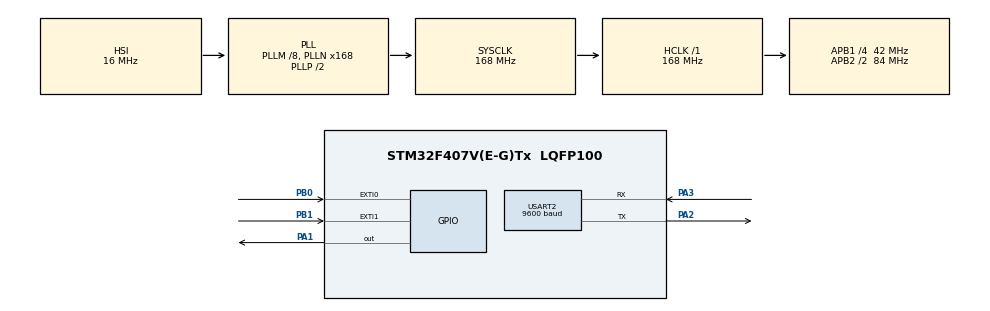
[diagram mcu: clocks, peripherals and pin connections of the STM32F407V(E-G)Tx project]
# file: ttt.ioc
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Mcu.Family=STM32F4
Mcu.Name=STM32F407V(E-G)Tx
Mcu.Package=LQFP100
NVIC.EXTI0_IRQn=true\:0\:0\:false\:false\:true\:true\:true
NVIC.EXTI1_IRQn=true\:0\:0\:false\:false\:true\:true\:true
NVIC.PriorityGroup=NVIC_PRIORITYGROUP_4
NVIC.USART2_IRQn=true\:0\:0\:false\:false\:true\:true\:true
PA1.Signal=GPIO_Output
PA13.Mode=Serial_Wire
PA13.Signal=SYS_JTMS-SWDIO
PA14.Mode=Serial_Wire
PA14.Signal=SYS_JTCK-SWCLK
PA2.Mode=Asynchronous
PA2.Signal=USART2_TX
PA3.Mode=Asynchronous
PA3.Signal=USART2_RX
PB0.Signal=GPXTI0
PB1.Signal=GPXTI1
ProjectManager.HeapSize=0x200
ProjectManager.StackSize=0x400
ProjectManager.TargetToolchain=Makefile
RCC.48MHZClocksFreq_Value=84000000
RCC.AHBFreq_Value=168000000
RCC.APB1CLKDivider=RCC_HCLK_DIV4
RCC.APB1Freq_Value=42000000
RCC.APB1TimFreq_Value=84000000
RCC.APB2CLKDivider=RCC_HCLK_DIV2
RCC.APB2Freq_Value=84000000
RCC.APB2TimFreq_Value=168000000
RCC.CortexFreq_Value=168000000
RCC.HCLKFreq_Value=168000000
RCC.HSE_VALUE=25000000
RCC.HSI_VALUE=16000000
RCC.LSE_VALUE=32768
RCC.PLLM=8
RCC.PLLN=168
RCC.SYSCLKFreq_VALUE=168000000
RCC.SYSCLKSource=RCC_SYSCLKSOURCE_PLLCLK
RCC.VCOOutputFreq_Value=336000000
USART2.BaudRate=9600
USART2.VirtualMode=VM_ASYNC
board=custom

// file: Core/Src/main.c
/* USER CODE BEGIN Header */
/**
  ******************************************************************************
  * @file           : main.c
  * @brief          : Main program body
  ******************************************************************************
  * @attention
  *
  * <h2><center>&copy; Copyright (c) 2021 STMicroelectronics.
  * All rights reserved.</center></h2>
  *
  * This software component is licensed by ST under BSD 3-Clause license,
  * the "License"; You may not use this file except in compliance with the
  * License. You may obtain a copy of the License at:
  *                        opensource.org/licenses/BSD-3-Clause
  *
  ******************************************************************************
  */
/* USER CODE END Header */
#include "main.h"

/* USER CODE BEGIN Includes */
#include "NOS_ModBus.h"
#include "../Src/Detector/Code/Detector.h"
#include "stdint.h"
#include <stdbool.h>
/* USER CODE END Includes */

UART_HandleTypeDef huart2;

/* USER CODE BEGIN PV */
ModBus_Master_Command master;
ModBus_Slave_Command slave;
ModBusState state;
bool AddressOk = false;
uint8_t rx_buff[256];
uint8_t fuck_buff[1024];
uint16_t fuckIndex = 0;
uint8_t lenght = 0;
uint8_t currCommand = 0;
bool rx_flag = false;
bool tx_flag = false;
uint8_t tx_buff[16];
uint8_t counter = 0;
volatile NOS_Short tickcount1;
volatile NOS_Short tickcountBuff;
NOS_Float uSvValue;
uint32_t tickcount2 = 0;
bool time250ms = false;
NOS_Short time;
TStatus_Stat stat;
/* USER CODE END PV */

void SystemClock_Config(void);
static void MX_GPIO_Init(void);
static void MX_USART2_UART_Init(void);

/* USER CODE BEGIN 0 */
void NOS_ModBus_SendSlaveCommand(ModBus_Slave_Command* slave)
{

    HAL_GPIO_WritePin(GPIOA,GPIO_PIN_1,0);
  if(slave->type < 2)
  {
    tx_buff[0] = slave->Addr;
    tx_buff[1] = slave->Command;
    tx_buff[2] = slave->Byte_Count;
    NOS_Short crc;
    if(slave->type == 0)
    {
      tx_buff[3] = slave->ShortValue.bytes[1];
      tx_buff[4] = slave->ShortValue.bytes[0];
      crc.data = GetCRC16(&tx_buff,5);
      tx_buff[5] = crc.bytes[1];
      tx_buff[6] = crc.bytes[0];
      HAL_UART_Transmit_IT(&huart2,&tx_buff,7);
    }
    else
    {
      tx_buff[3] = slave->FloatValue.bytes[3];
      tx_buff[4] = slave->FloatValue.bytes[2];
      tx_buff[5] = slave->FloatValue.bytes[1];
      tx_buff[6] = slave->FloatValue.bytes[0];
      crc.data = GetCRC16(&tx_buff,7);
      tx_buff[8] = crc.bytes[1];
      tx_buff[9] = crc.bytes[0];
      HAL_UART_Transmit_IT(&huart2,&tx_buff,9);
    }
  }
  else
  {
    Stat_GetStatus(&stat);
    NOS_Float dat;
    dat.data = stat.CPS;
    tx_buff[0] = dat.bytes[3];
    tx_buff[1] = dat.bytes[2];
    tx_buff[2] = dat.bytes[1];
    tx_buff[3] = dat.bytes[0];
    tx_buff[4] = stat.Delta;
    tx_buff[5] = uSvValue.bytes[3];
    tx_buff[6] = uSvValue.bytes[2];
    tx_buff[7] = uSvValue.bytes[1];
    tx_buff[8] = uSvValue.bytes[0];
    tx_buff[9] = stat.Status;
    tx_buff[10] = tickcountBuff.bytes[1];
    tx_buff[11] = tickcountBuff.bytes[0];

    HAL_UART_Transmit_IT(&huart2,tx_buff,12);
  }
  HAL_GPIO_WritePin(GPIOA,GPIO_PIN_1,1);
}

void HAL_UART_RxCpltCallback(UART_HandleTypeDef* huart) {

static uint8_t* rx_buff_ptr = rx_buff;

fuck_buff[fuckIndex] = *rx_buff_ptr;
fuckIndex++;
if(fuckIndex > 1023)
{
  fuckIndex = 0;
}

if(*rx_buff_ptr == 101 && !AddressOk)
{
  AddressOk = true;
  lenght = 0;
}

if(AddressOk && lenght == 1)
{
  currCommand = *rx_buff_ptr;
}

if(lenght > 10)
{
  rx_buff_ptr = rx_buff;
  lenght = 0;
  AddressOk = false;
  for(int i = 0; i < 10; i++)
  {
    rx_buff[i] = 0;
  }
}

if(AddressOk && lenght == 7 && currCommand == 0x03)
{
  rx_buff_ptr = rx_buff;
  AddressOk = false;
  lenght = 0;
  rx_flag = true;
}
else
{
  rx_buff[lenght] = *rx_buff_ptr;
  ++rx_buff_ptr;
  ++lenght;
}
    HAL_UART_Receive_IT (&huart2, rx_buff_ptr, 1);
}

void SysTick_Handler(void)
{
  /* USER CODE BEGIN SysTick_IRQn 0 */

  /* USER CODE END SysTick_IRQn 0 */
  HAL_IncTick();
  /* USER CODE BEGIN SysTick_IRQn 1 */
time.data++;
if(time.data >= 250) {
   Stat_AddData250ms(tickcount1.data);
   tickcountBuff.data = tickcount1.data;
   tickcount1.data = 0;
   time250ms = true;
   time.data = 0;
}

}

void EXTI0_IRQHandler(void)
{
  /* USER CODE BEGIN EXTI0_IRQn 0 */
tickcount1.data++;
  /* USER CODE END EXTI0_IRQn 0 */
  HAL_GPIO_EXTI_IRQHandler(GPIO_PIN_0);
  /* USER CODE BEGIN EXTI0_IRQn 1 */

  /* USER CODE END EXTI0_IRQn 1 */
}

/**
  * @brief This function handles EXTI line1 interrupt.
  */
void EXTI1_IRQHandler(void)
{
  /* USER CODE BEGIN EXTI1_IRQn 0 */

  /* USER CODE END EXTI1_IRQn 0 */
  HAL_GPIO_EXTI_IRQHandler(GPIO_PIN_1);
  /* USER CODE BEGIN EXTI1_IRQn 1 */

  /* USER CODE END EXTI1_IRQn 1 */
}
  /* USER CODE END SysTick_IRQn 1 */

/* USER CODE END 0 */

int main(void)
{

  /* MCU Configuration--------------------------------------------------------*/

  /* Reset of all peripherals, Initializes the Flash interface and the Systick. */
  HAL_Init();

  /* Configure the system clock */
  SystemClock_Config();

  /* Initialize all configured peripherals */
  MX_GPIO_Init();
  MX_USART2_UART_Init();
  /* USER CODE BEGIN 2 */
  HAL_UART_Receive_IT (&huart2, rx_buff, 1);
  Stat_Init(3.4,60,0);
  Detector_Init_Param(1.395E-3f, 0);
  /* USER CODE END 2 */

  /* Infinite loop */
  /* USER CODE BEGIN WHILE */
  while (1)
  {
     if(time250ms)
     {
        counter++;
        if(counter >= 4)
        {
           Stat_GetStatus(&stat);
           uSvValue.data = Detector_GetuZvValue(&stat);
           slave.type = 5;
           NOS_ModBus_SendSlaveCommand(&slave);
           counter = 0;
        }
        time250ms = false;
     }

     if(rx_flag)
    {
      NOS_ModBus_ParseMasterCommand(&master,&rx_buff,0);
      switch(master.Command)
      {
        case 0x03:
        slave.Addr = 101;
        slave.Command = 0x03;

        switch(master.Reg_Addr)
        {
          case 0x0000:
          slave.ShortValue.data = 1000;
          slave.Byte_Count = 2;
          slave.type = 0;
          break;

          case 0x0001:
          slave.ShortValue.data = 25;
          slave.Byte_Count = 2;
          slave.type = 0;
          break;

          case 0x0003:
          Stat_GetStatus(&stat);
          slave.FloatValue.data = Detector_GetuZvValue(&stat);
          slave.Byte_Count = 4;
          slave.type = 1;
          break;

          case 0x0005:
          slave.ShortValue.data = 400;
          slave.Byte_Count = 2;
          slave.type = 0;
          break;

          case 0x0006:
          slave.FloatValue.data = 0.25f;
          slave.Byte_Count = 4;
          slave.type = 1;
          break;

          case 0x0008:
          slave.FloatValue.data = 1.25f;
          slave.Byte_Count = 4;
          slave.type = 1;
          break;
        }
      }

      NOS_ModBus_SendSlaveCommand(&slave);
      HAL_GPIO_TogglePin(GPIOA,GPIO_PIN_8);
      rx_flag = false;
    }
    /* USER CODE END WHILE */

  }
}

void SystemClock_Config(void)
{
  RCC_OscInitTypeDef RCC_OscInitStruct = {0};
  RCC_ClkInitTypeDef RCC_ClkInitStruct = {0};

  /** Configure the main internal regulator output voltage
  */
  __HAL_RCC_PWR_CLK_ENABLE();
  __HAL_PWR_VOLTAGESCALING_CONFIG(PWR_REGULATOR_VOLTAGE_SCALE1);
  /** Initializes the RCC Oscillators according to the specified parameters
  * in the RCC_OscInitTypeDef structure.
  */
  RCC_OscInitStruct.OscillatorType = RCC_OSCILLATORTYPE_HSI;
  RCC_OscInitStruct.HSIState = RCC_HSI_ON;
  RCC_OscInitStruct.HSICalibrationValue = RCC_HSICALIBRATION_DEFAULT;
  RCC_OscInitStruct.PLL.PLLState = RCC_PLL_ON;
  RCC_OscInitStruct.PLL.PLLSource = RCC_PLLSOURCE_HSI;
  RCC_OscInitStruct.PLL.PLLM = 8;
  RCC_OscInitStruct.PLL.PLLN = 168;
  RCC_OscInitStruct.PLL.PLLP = RCC_PLLP_DIV2;
  RCC_OscInitStruct.PLL.PLLQ = 4;
  if (HAL_RCC_OscConfig(&RCC_OscInitStruct) != HAL_OK)
  {
    Error_Handler();
  }
  /** Initializes the CPU, AHB and APB buses clocks
  */
  RCC_ClkInitStruct.ClockType = RCC_CLOCKTYPE_HCLK|RCC_CLOCKTYPE_SYSCLK
                              |RCC_CLOCKTYPE_PCLK1|RCC_CLOCKTYPE_PCLK2;
  RCC_ClkInitStruct.SYSCLKSource = RCC_SYSCLKSOURCE_PLLCLK;
  RCC_ClkInitStruct.AHBCLKDivider = RCC_SYSCLK_DIV1;
  RCC_ClkInitStruct.APB1CLKDivider = RCC_HCLK_DIV4;
  RCC_ClkInitStruct.APB2CLKDivider = RCC_HCLK_DIV2;

  if (HAL_RCC_ClockConfig(&RCC_ClkInitStruct, FLASH_LATENCY_5) != HAL_OK)
  {
    Error_Handler();
  }
}

static void MX_USART2_UART_Init(void)
{

  huart2.Instance = USART2;
  huart2.Init.BaudRate = 9600;
  huart2.Init.WordLength = UART_WORDLENGTH_8B;
  huart2.Init.StopBits = UART_STOPBITS_1;
  huart2.Init.Parity = UART_PARITY_NONE;
  huart2.Init.Mode = UART_MODE_TX_RX;
  huart2.Init.HwFlowCtl = UART_HWCONTROL_NONE;
  huart2.Init.OverSampling = UART_OVERSAMPLING_16;
  if (HAL_UART_Init(&huart2) != HAL_OK)
  {
    Error_Handler();
  }

}

static void MX_GPIO_Init(void)
{
  GPIO_InitTypeDef GPIO_InitStruct = {0};

  /* GPIO Ports Clock Enable */
  __HAL_RCC_GPIOA_CLK_ENABLE();
  __HAL_RCC_GPIOB_CLK_ENABLE();

  /*Configure GPIO pin Output Level */
  HAL_GPIO_WritePin(GPIOA, GPIO_PIN_1, GPIO_PIN_SET);

  /*Configure GPIO pin : PA1 */
  GPIO_InitStruct.Pin = GPIO_PIN_1;
  GPIO_InitStruct.Mode = GPIO_MODE_OUTPUT_PP;
  GPIO_InitStruct.Pull = GPIO_NOPULL;
  GPIO_InitStruct.Speed = GPIO_SPEED_FREQ_LOW;
  HAL_GPIO_Init(GPIOA, &GPIO_InitStruct);

  /*Configure GPIO pins : PB0 PB1 */
  GPIO_InitStruct.Pin = GPIO_PIN_0|GPIO_PIN_1;
  GPIO_InitStruct.Mode = GPIO_MODE_IT_RISING;
  GPIO_InitStruct.Pull = GPIO_NOPULL;
  HAL_GPIO_Init(GPIOB, &GPIO_InitStruct);

  /* EXTI interrupt init*/
  HAL_NVIC_SetPriority(EXTI0_IRQn, 0, 0);
  HAL_NVIC_EnableIRQ(EXTI0_IRQn);

  HAL_NVIC_SetPriority(EXTI1_IRQn, 0, 0);
  HAL_NVIC_EnableIRQ(EXTI1_IRQn);

}

void Error_Handler(void)
{
  __disable_irq();
  while (1)
  {
  }
}

/************************ (C) COPYRIGHT STMicroelectronics *****END OF FILE****/
